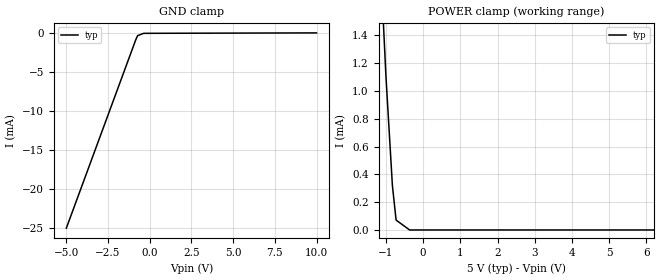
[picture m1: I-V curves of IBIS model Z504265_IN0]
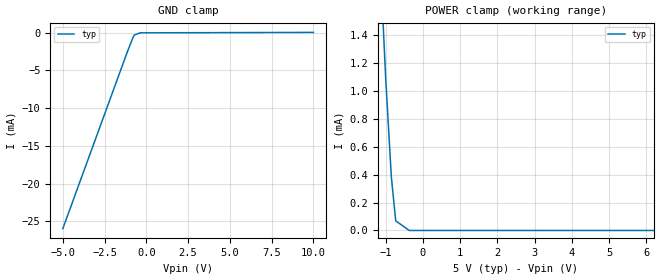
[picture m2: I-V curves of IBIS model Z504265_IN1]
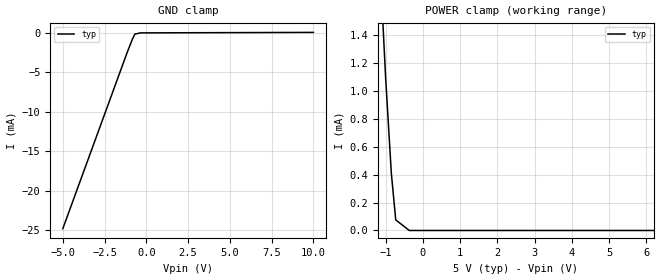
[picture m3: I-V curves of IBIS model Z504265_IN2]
| YOU ARE ONLY AUTHORIZED TO USE THIS SOFTWARE
| ACCORDING TO LICENSOR'S LICENSE RESTRICTIONS.
[IBIS Ver] 3.1
[File Name] mc74hc589d.ibs
[File Rev] 2.0
[Source] Measured and created by ICX Technology
[Date] Friday 7/14/00 9:08:10 AM
[Copyright]
| (C) COPYRIGHT 1993-2000
| MENTOR GRAPHICS CORPORATION
| ICX STANDARD LIBRARY, ICX PROJECT MODELING,
| ICX CUSTOM MODELING, ICX VENDOR MODEL
| ALL RIGHTS RESERVED.
| THE FOLLOWING ARE TRADEMARKS OR SERVICE MARKS OF
| MENTOR GRAPHICS CORPORATION:ICX (R), ICX STANDARD
| LIBRARY(R), ICX PROJECT MODELING(R), ICX CUSTOM
| MODELING(R), qualityIBIS(TM), MODELVIEWER(TM),
| AND MODELEDITOR(TM)
| ALL COPIES OF SOFTWARE, INCLUDING BUT NOT LIMITED TO
| ANY MODIFICATIONS, ENHANCEMENTS OR DERIVATIVE WORKS,
| MUST CONTAIN ALL MENTOR GRAPHICS CORPORATION'S
| NOTICES AND LEGENDS, INCLUDING THOSE EMBEDDED IN
| SOFTWARE AND THOSE AFFIXED TO SOFTWARE MEDIUM
| AND CONTAINER, AS RECEIVED FROM MENTOR GRAPHICS
| CORPORATION.
|  ZAP Model Builder 2.7
[Component] MC74HC589D
[Manufacturer] OnSemiconductor
[Package]
| variable   typ   min   max
R_pkg  .156ohms NA NA
L_pkg  3.148nH NA NA
C_pkg  .388pF NA NA
[Pin] signal_name  model_name  R_pin  L_pin C_pin
1 B Z504265_IN0 .162 3.798n .418p
2 C Z504265_IN0 .158 3.358n .398p
3 D Z504265_IN0 .154 2.928n .378p
4 E Z504265_IN0 .15 2.508n .358p
5 G Z504265_IN0 .15 2.508n .358p
6 G Z504265_IN0 .154 2.928n .378p
7 H Z504265_IN0 .158 3.358n .398p
8 GND GND .162 3.798n .418p
9 QH Z504265_TRI0 .162 3.798n .418p
10 OE Z504265_IN1 .158 3.358n .398p
11 SHIFT_CLOCK Z504265_IN2 .154 2.928n .378p
12 LATCH_CLOCK Z504265_IN3 .15 2.508n .358p
13 SERIAL_SHIFT Z504265_IN4 .15 2.508n .358p
14 SA Z504265_IN5 .154 2.928n .378p
15 A Z504265_IN0 .158 3.358n .398p
16 VCC POWER .162 3.798n .418p
| Models and submodels in the file (7): Z504265_IN0 (Input), Z504265_IN1 (Input), Z504265_IN2 (Input), Z504265_IN3 (Input), Z504265_IN4 (Input), Z504265_IN5 (Input), Z504265_TRI0 (3-state)
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| (C) COPYRIGHT 1993-2000
| MENTOR GRAPHICS CORPORATION
| ICX STANDARD LIBRARY, ICX PROJECT MODELING,
| ICX CUSTOM MODELING, ICX VENDOR MODEL
| ALL RIGHTS RESERVED.
| THE FOLLOWING ARE TRADEMARKS OR SERVICE MARKS OF
| MENTOR GRAPHICS CORPORATION:ICX (R), ICX STANDARD
| LIBRARY(R), ICX PROJECT MODELING(R), ICX CUSTOM
| MODELING(R), qualityIBIS(TM), MODELVIEWER(TM),
| AND MODELEDITOR(TM)
| ALL COPIES OF SOFTWARE, INCLUDING BUT NOT LIMITED TO
| ANY MODIFICATIONS, ENHANCEMENTS OR DERIVATIVE WORKS,
| MUST CONTAIN ALL MENTOR GRAPHICS CORPORATION'S
| NOTICES AND LEGENDS, INCLUDING THOSE EMBEDDED IN
| SOFTWARE AND THOSE AFFIXED TO SOFTWARE MEDIUM
| AND CONTAINER, AS RECEIVED FROM MENTOR GRAPHICS
| CORPORATION.
| Model Application Version 1.89 2/18/99.
[Model] Z504265_IN0
Model_type Input
Vinl = 1.000V
Vinh = 3.500V
C_comp 4.000pF NA NA
| variable typ   min   max
[Voltage Range] 5.000V NA NA
[GND Clamp Reference] 0.000V NA NA
[POWER Clamp Reference] 5.000V NA NA
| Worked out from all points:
|   POWER clamp passes 1 mA (typ) near -0.98 V on its own axis
[GND Clamp]
-5V       -25.06mA   NA         NA
-838.5mV  -865.5uA   NA         NA
-726.5mV  -328.8uA   NA         NA
-363.2mV  -32.46uA   NA         NA
10V       24.24uA    NA         NA
[POWER Clamp]
-5V       25.22mA    NA         NA
-1.639V   4.866mA    NA         NA
-1.541V   4.362mA    NA         NA
-1.189V   2.155mA    NA         NA
-1V       1.101mA    NA         NA
-827mV    318.6uA    NA         NA
-728mV    70.93uA    NA         NA
-364mV    0A         NA         NA
10V       0A         NA         NA
| (C) COPYRIGHT 1993-2000
| MENTOR GRAPHICS CORPORATION
| ICX STANDARD LIBRARY, ICX PROJECT MODELING,
| ICX CUSTOM MODELING, ICX VENDOR MODEL
| ALL RIGHTS RESERVED.
| THE FOLLOWING ARE TRADEMARKS OR SERVICE MARKS OF
| MENTOR GRAPHICS CORPORATION:ICX (R), ICX STANDARD
| LIBRARY(R), ICX PROJECT MODELING(R), ICX CUSTOM
| MODELING(R), qualityIBIS(TM), MODELVIEWER(TM),
| AND MODELEDITOR(TM)
| ALL COPIES OF SOFTWARE, INCLUDING BUT NOT LIMITED TO
| ANY MODIFICATIONS, ENHANCEMENTS OR DERIVATIVE WORKS,
| MUST CONTAIN ALL MENTOR GRAPHICS CORPORATION'S
| NOTICES AND LEGENDS, INCLUDING THOSE EMBEDDED IN
| SOFTWARE AND THOSE AFFIXED TO SOFTWARE MEDIUM
| AND CONTAINER, AS RECEIVED FROM MENTOR GRAPHICS
| CORPORATION.
| Model Application Version 1.89 2/18/99.
[Model] Z504265_IN1
Model_type Input
Vinl = 1.000V
Vinh = 3.500V
C_comp 4.000pF NA NA
| variable typ   min   max
[Voltage Range] 5.000V NA NA
[GND Clamp Reference] 0.000V NA NA
[POWER Clamp Reference] 5.000V NA NA
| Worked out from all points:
|   POWER clamp passes 1 mA (typ) near -0.98 V on its own axis
[GND Clamp]
-5V       -25.98mA   NA         NA
-1.123V   -2.47mA    NA         NA
-819.9mV  -767.9uA   NA         NA
-726.6mV  -328.7uA   NA         NA
-363.3mV  -32.23uA   NA         NA
10V       26.5uA     NA         NA
[POWER Clamp]
-5V       25.53mA    NA         NA
-1.396V   3.369mA    NA         NA
-999mV    1.101mA    NA         NA
-845mV    383.7uA    NA         NA
-728mV    69uA       NA         NA
-364mV    0A         NA         NA
10V       0A         NA         NA
| (C) COPYRIGHT 1993-2000
| MENTOR GRAPHICS CORPORATION
| ICX STANDARD LIBRARY, ICX PROJECT MODELING,
| ICX CUSTOM MODELING, ICX VENDOR MODEL
| ALL RIGHTS RESERVED.
| THE FOLLOWING ARE TRADEMARKS OR SERVICE MARKS OF
| MENTOR GRAPHICS CORPORATION:ICX (R), ICX STANDARD
| LIBRARY(R), ICX PROJECT MODELING(R), ICX CUSTOM
| MODELING(R), qualityIBIS(TM), MODELVIEWER(TM),
| AND MODELEDITOR(TM)
| ALL COPIES OF SOFTWARE, INCLUDING BUT NOT LIMITED TO
| ANY MODIFICATIONS, ENHANCEMENTS OR DERIVATIVE WORKS,
| MUST CONTAIN ALL MENTOR GRAPHICS CORPORATION'S
| NOTICES AND LEGENDS, INCLUDING THOSE EMBEDDED IN
| SOFTWARE AND THOSE AFFIXED TO SOFTWARE MEDIUM
| AND CONTAINER, AS RECEIVED FROM MENTOR GRAPHICS
| CORPORATION.
| Model Application Version 1.89 2/18/99.
[Model] Z504265_IN2
Model_type Input
Vinl = 1.000V
Vinh = 3.500V
C_comp 4.000pF NA NA
| variable typ   min   max
[Voltage Range] 5.000V NA NA
[GND Clamp Reference] 0.000V NA NA
[POWER Clamp Reference] 5.000V NA NA
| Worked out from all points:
|   POWER clamp passes 1 mA (typ) near -0.98 V on its own axis
[GND Clamp]
-5V       -24.77mA   NA         NA
-1.143V   -2.485mA   NA         NA
-819.8mV  -765.7uA   NA         NA
-683.6mV  -186.9uA   NA         NA
-341.8mV  -35.08uA   NA         NA
10V       26.27uA    NA         NA
[POWER Clamp]
-5V       24.08mA    NA         NA
-1.416V   3.347mA    NA         NA
-1V       1.103mA    NA         NA
-845mV    409.7uA    NA         NA
-727mV    75.79uA    NA         NA
-363.5mV  0A         NA         NA
10V       0A         NA         NA
